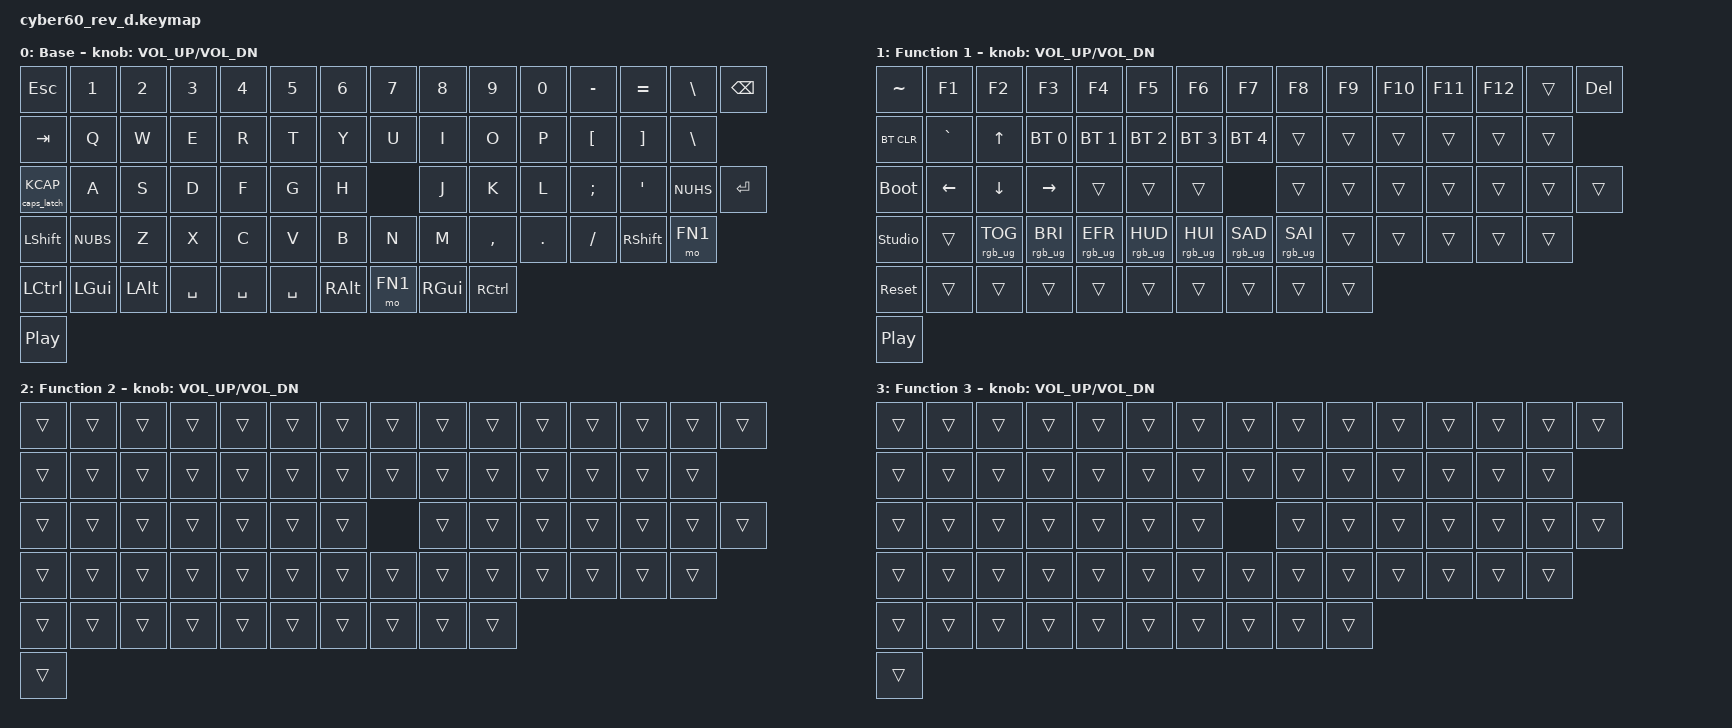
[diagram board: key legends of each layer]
#include <behaviors.dtsi>
#include <dt-bindings/zmk/bt.h>
#include <dt-bindings/zmk/keys.h>
#include <dt-bindings/zmk/rgb.h>

#define FN1 1

/ {

behaviors {
	caps_latch: caps_latch {
		compatible = "zmk,behavior-caps-latch";
		#binding-cells = <1>;
	};
};


    keymap {
        compatible = "zmk,keymap";
        default_layer {
            // Base layer
            // ------------------------------------------------------------------------------------------
            // | ESC |  1  |  2  |  3  |  4  |  5  |  6  |  7  |  8  |  9  |  0  |  -  |  =  | "\" |BKSP|
            // |  TAB |  Q  |  W  |  E  |  R  |  T  |  Y  |  U  |  I  |  O  |  P  |  [  |  ]  |   "\"   |
            // | CAPS  |  A  |  S  |  D  |  F  |  G  |  H  |  J  |  K  |  L  |  ;  |  '  |NUHS| ENTER   |
            // | SHIFT |NUBS| Z |  X  |  C  |  V  |  B  |  N  |  M  |  ,  |  .  |  /  |    Shift   | FN |
            // |  LCTL  |  LWIN  |  LALT  | SPACE  | SPACE |    SPACE   |  RALT | FN  |   RWIN  | RCTRL |
            // | Rotary | (<-- Rotary switch) ----------------------------------------------------------- 
            display-name = "Base";
            bindings = <
            &kp ESC		&kp N1		&kp N2		&kp N3		&kp N4		&kp N5    &kp N6   &kp N7    &kp N8     &kp N9		&kp N0  	&kp MINUS	&kp EQUAL	&kp BSLH  &kp BSPC
            &kp TAB     &kp Q		&kp W		&kp E		&kp R		&kp T     &kp Y    &kp U     &kp I      &kp O		&kp P   	&kp LBKT	&kp RBKT	&kp BSLH
            &caps_latch KCAP	&kp A		&kp S		&kp D		&kp F		&kp G     &kp H    &kp J     &kp K      &kp L		&kp SEMI	&kp SQT		&kp NUHS	&kp RET
            &kp LSHFT	&kp NUBS	&kp Z		&kp X		&kp C		&kp V     &kp B    &kp N     &kp M  	&kp COMMA   &kp DOT   	&kp FSLH	&kp RSHFT   &mo FN1
            &kp LCTRL	&kp LGUI	&kp LALT	&kp SPACE	&kp SPACE	&kp SPACE  &kp RALT  &mo FN1  &kp RGUI  &kp RCTRL
            &kp C_PP
            >;

            sensor-bindings = <&inc_dec_kp C_VOL_UP C_VOL_DN>;
        };

        fn_layer_0 {
            display-name = "Function 1";
            // Function layer
            // ------------------------------------------------------------------------------------------
            // | RESET | F1 |  F2 |  F3 |  F4 |  F5 |  F6 |  F7 |  F8 |  F9 | F10 | F11 | F12 |TRNS | DEL |
            // |BT_CLR |TRNS | UP  | BT0 | BT1 | BT2 | BT3 | BT4 | TRNS | TRNS | TRNS | TRNS | TRNS | TRNS|
            // | BOOTL  |LEFT |DOWN |RIGHT|TRNS |TRNS |TRNS | TRNS| TRNS |TRNS| TRNS |TRNS | TRNS | TRNS  |
            // |S_UNLK|TRNS|TRNS|TRNS|TRNS | TRNS| TRNS | TRNS |  TRNS| TRNS | TRNS| TRNS |   TRNS   |TRNS|
            // |  TRNS | TRNS | TRNS |      TRNS      | TRNS |     TRNS     |  TRNS |  TRNS | TRNS | TRNS |
            // | Rotary | (<-- Rotary switch) ----------------------------------------------------------- 

            bindings = <
            &kp TILDE	&kp F1		&kp F2          &kp F3          &kp F4          &kp F5          &kp F6          &kp F7          &kp F8  		&kp F9	&kp F10  &kp F11  &kp F12 &trans  &kp DEL
            &bt BT_CLR	&kp GRAVE		&kp UP     		&bt BT_SEL 0    &bt BT_SEL 1    &bt BT_SEL 2    &bt BT_SEL 3    &bt BT_SEL 4    &trans  		&trans  &trans   &trans   &trans  &trans
            &bootloader	&kp LEFT	&kp DOWN        &kp RIGHT       &trans          &trans          &trans          &trans          &trans  		&trans  &trans   &trans   &trans  &trans
            &studio_unlock		&trans		&rgb_ug RGB_TOG	&rgb_ug RGB_BRI	&rgb_ug RGB_EFR	&rgb_ug RGB_HUD	&rgb_ug RGB_HUI	&rgb_ug RGB_SAD	&rgb_ug RGB_SAI &trans  &trans   &trans   &trans  &trans
            &sys_reset		&trans		&trans          &trans          &trans          &trans          &trans          &trans          &trans  		&trans
            &kp C_PP
            >;

            sensor-bindings = <&inc_dec_kp C_VOL_UP C_VOL_DN>;
        };
        fn_layer_1 {
            display-name = "Function 2";
            bindings = <
            &trans	&trans  &trans  &trans  &trans  &trans  &trans  &trans  &trans  &trans  &trans  &trans  &trans  &trans  &trans
            &trans	&trans  &trans  &trans  &trans  &trans  &trans  &trans  &trans  &trans  &trans  &trans  &trans  &trans
            &trans	&trans  &trans  &trans  &trans  &trans  &trans  &trans  &trans  &trans  &trans  &trans  &trans  &trans
            &trans  &trans  &trans	&trans	&trans	&trans	&trans	&trans	&trans  &trans  &trans  &trans  &trans  &trans
            &trans  &trans  &trans  &trans  &trans  &trans  &trans  &trans  &trans  &trans
            &trans
            >;

            sensor-bindings = <&inc_dec_kp C_VOL_UP C_VOL_DN>;
        };
        fn_layer_2 {
            display-name = "Function 3";
            bindings = <
            &trans	&trans  &trans  &trans  &trans  &trans  &trans  &trans  &trans  &trans  &trans  &trans  &trans  &trans  &trans
            &trans	&trans  &trans  &trans  &trans  &trans  &trans  &trans  &trans  &trans  &trans  &trans  &trans  &trans
            &trans	&trans  &trans  &trans  &trans  &trans  &trans  &trans  &trans  &trans  &trans  &trans  &trans  &trans
            &trans  &trans  &trans	&trans	&trans	&trans	&trans	&trans	&trans  &trans  &trans  &trans  &trans  &trans
            &trans  &trans  &trans  &trans  &trans  &trans  &trans  &trans  &trans  &trans
            &trans
            >;

            sensor-bindings = <&inc_dec_kp C_VOL_UP C_VOL_DN>;
        };
    };
};
